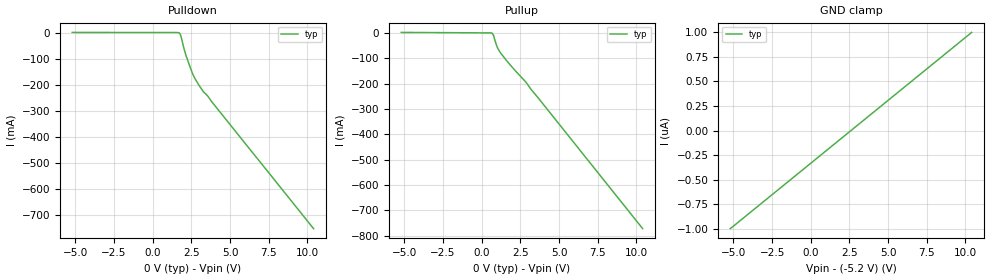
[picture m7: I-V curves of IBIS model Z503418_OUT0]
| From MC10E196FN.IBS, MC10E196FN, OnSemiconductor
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| (C) COPYRIGHT 1993-2000
| MENTOR GRAPHICS CORPORATION
| ICX STANDARD LIBRARY, ICX PROJECT MODELING,
| ICX CUSTOM MODELING, ICX VENDOR MODEL
| ALL RIGHTS RESERVED.
| THE FOLLOWING ARE TRADEMARKS OR SERVICE MARKS OF
| MENTOR GRAPHICS CORPORATION:ICX (R), ICX STANDARD
| LIBRARY(R), ICX PROJECT MODELING(R), ICX CUSTOM
| MODELING(R), qualityIBIS(TM), MODELVIEWER(TM),
| AND MODELEDITOR(TM)
| ALL COPIES OF SOFTWARE, INCLUDING BUT NOT LIMITED TO
| ANY MODIFICATIONS, ENHANCEMENTS OR DERIVATIVE WORKS,
| MUST CONTAIN ALL MENTOR GRAPHICS CORPORATION'S
| NOTICES AND LEGENDS, INCLUDING THOSE EMBEDDED IN
| SOFTWARE AND THOSE AFFIXED TO SOFTWARE MEDIUM
| AND CONTAINER, AS RECEIVED FROM MENTOR GRAPHICS
| CORPORATION.
| Model Application Version 1.89 2/18/99.
[Model] Z503418_OUT0
Model_type Output_ECL
Vref=-2.000V
Rref=50.00ohms
Cref=0.000F
Vmeas=-1.305V
C_comp 8.000pF NA NA
| variable typ   min   max
[Voltage Range] -5.200V NA NA
[POWER Clamp Reference] 0.000V NA NA
[Pullup Reference] 0.000V NA NA
[Pulldown Reference] 0.000V NA NA
[GND Clamp Reference] -5.200V NA NA
[GND Clamp]
-5.2V     -1uA       NA         NA
10.4V     1uA        NA         NA
[Pulldown]
-5.2V     571uA      NA         NA
1.564V    25.12uA    NA         NA
1.738V    -2.607mA   NA         NA
1.844V    -17.61mA   NA         NA
2.031V    -63.41mA   NA         NA
2.163V    -89.95mA   NA         NA
2.569V    -156.7mA   NA         NA
2.729V    -176.2mA   NA         NA
3.273V    -226.8mA   NA         NA
3.554V    -243mA     NA         NA
3.789V    -263.2mA   NA         NA
10.4V     -752mA     NA         NA
[Pullup]
-5.2V     1.737mA    NA         NA
683.2mV   -2.04mA    NA         NA
757mV     -9.512mA   NA         NA
1.003V    -56.24mA   NA         NA
1.252V    -81.91mA   NA         NA
1.919V    -132mA     NA         NA
2.852V    -193.8mA   NA         NA
3.194V    -223.3mA   NA         NA
10.4V     -771.7mA   NA         NA
[POWER Clamp]
-5.2V     0A         NA         NA
10.4V     0A         NA         NA
[Ramp]
| variable typ min max
dV/dt_r 596.9m/302.5p NA NA
dV/dt_f 596.9m/330.1p NA NA
R_load = 500.0Ohms
